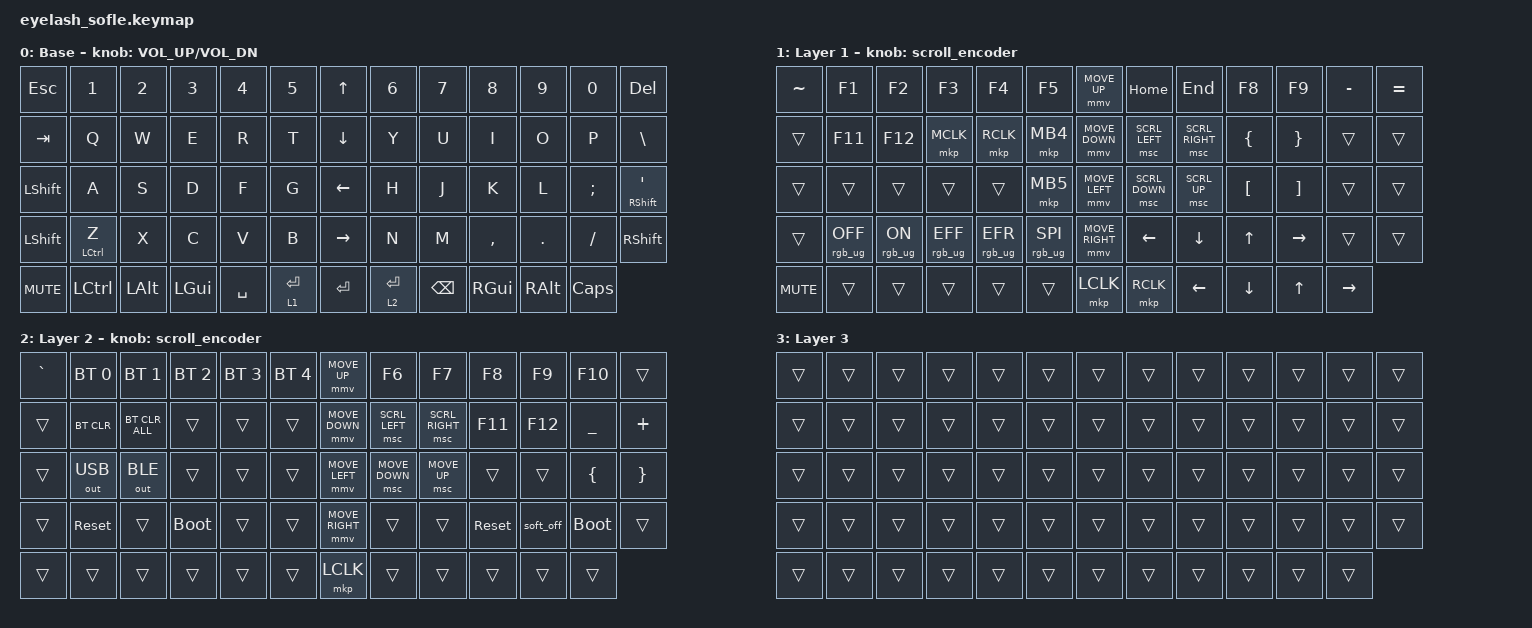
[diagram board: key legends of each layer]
#define ZMK_POINTING_DEFAULT_MOVE_VAL 1200  // 600
#define ZMK_POINTING_DEFAULT_SCRL_VAL 25   // 10

#include <input/processors.dtsi>
#include <zephyr/dt-bindings/input/input-event-codes.h>
#include <behaviors.dtsi>
#include <dt-bindings/zmk/bt.h>
#include <dt-bindings/zmk/ext_power.h>
#include <dt-bindings/zmk/keys.h>
#include <dt-bindings/zmk/pointing.h>
#include <dt-bindings/zmk/rgb.h>
#include <dt-bindings/zmk/outputs.h>
#include <dt-bindings/zmk/mouse.h>

&mmv_input_listener { input-processors = <&zip_xy_scaler 2 1>; };

&msc_input_listener { input-processors = <&zip_scroll_scaler 2 1>; };

&msc {
    acceleration-exponent = <1>;      // 0
    time-to-max-speed-ms = <100>;       // 300
    delay-ms = <0>;                   // 0
};

&mmv {
    time-to-max-speed-ms = <500>;
    acceleration-exponent = <1>;
    trigger-period-ms = <16>;
};


/ {

    scroll_encoder: scroll_encoder {
        compatible = "zmk,behavior-sensor-rotate";
        #sensor-binding-cells = <0>;
        bindings = <&msc SCRL_DOWN>, <&msc SCRL_UP>;
        tap-ms = <100>;
    };

    keymap {
        compatible = "zmk,keymap";

        /* Layer 0 (Base)
         *
         *  ESC     1       2       3       4       5         UP      6       7       8       9       0       DEL    
         *  TAB     Q       W       E       R       T         DN      Y       U       I       O       P       BSLH   
         *  LSHFT   A       S       D       F       G         LT      H       J       K       L       ;       RSFT/' 
         *  LSHFT   Z       X       C       V       B         RT      N       M       ,       .       /       RSFT   
         *  MUTE    LCTL    LALT    LGUI    SPC     LT0/ENT   ENT     LT1/ENT BSPC    RGUI    RALT    CAPS           
         */
        layer_0 {
            bindings = <
&kp ESC    &kp N1      &kp N2       &kp N3       &kp N4    &kp N5       &kp UP_ARROW     &kp N6       &kp N7        &kp N8        &kp N9        &kp N0   &kp DELETE
&kp TAB    &kp Q       &kp W        &kp E        &kp R     &kp T        &kp DOWN_ARROW   &kp Y        &kp U         &kp I         &kp O         &kp P    &kp BSLH
&kp LSHFT  &kp A       &kp S        &kp D        &kp F     &kp G        &kp LEFT_ARROW   &kp H        &kp J         &kp K         &kp L         &kp SEMI &mt RSHIFT APOS
&kp LSHFT  &mt LCTRL Z &kp X        &kp C        &kp V     &kp B        &kp RIGHT_ARROW  &kp N        &kp M         &kp COMMA     &kp DOT       &kp FSLH &kp RIGHT_SHIFT
&kp C_MUTE &kp LCTRL   &kp LEFT_ALT &kp LEFT_GUI &kp SPACE &lt 1 ENTER  &kp ENTER        &lt 2 ENTER  &kp BACKSPACE &kp RIGHT_GUI &kp RIGHT_ALT &kp CAPS
            >;

            sensor-bindings = <&inc_dec_kp C_VOLUME_UP C_VOL_DN>;
            display-name = "Base";
        };

        /* Layer 1 (Fn)
         *
         *  ~       F1      F2      F3      F4      F5        MMV_UP  HOME    END     F8      F9      -       =      
         *  trans   F11     F12     MCLK    RCLK    MB4       MMV_DN  MSC_LT  MSC_RT  {       }       trans   trans  
         *  trans   trans   trans   trans   trans   MB5       MMV_LT  MSC_DN  MSC_UP  [       ]       trans   trans  
         *  trans   RGB_OFF RGB_ON  RGB_EFF RGB_EFR RGB_SPI   MMV_RT  RGB_BRI RGB_BRD trans   trans   trans   trans  
         *  MUTE    trans   trans   trans   trans   trans     LCLK    RCLK    LT_ARW  DN_ARW  UP_ARW  RT_ARW         
         */
        layer_1 {
            bindings = <
&kp TILDE   &kp F1          &kp F2         &kp F3          &kp F4           &kp F5           &mmv MOVE_UP     &kp HOME        &kp END         &kp F8             &kp F9            &kp MINUS       &kp EQUAL
&trans      &kp F11         &kp F12        &mkp MCLK       &mkp RCLK        &mkp MB4         &mmv MOVE_DOWN   &msc SCRL_LEFT  &msc SCRL_RIGHT &kp LBRC           &kp RBRC          &trans          &trans
&trans      &trans          &trans         &trans          &trans           &mkp MB5         &mmv MOVE_LEFT   &msc SCRL_DOWN  &msc SCRL_UP    &kp LEFT_BRACKET   &kp RIGHT_BRACKET &trans          &trans
&trans      &rgb_ug RGB_OFF &rgb_ug RGB_ON &rgb_ug RGB_EFF &rgb_ug RGB_EFR  &rgb_ug RGB_SPI  &mmv MOVE_RIGHT  &kp LEFT_ARROW  &kp DOWN_ARROW   &kp UP_ARROW      &kp RIGHT_ARROW   &trans          &trans
&kp C_MUTE  &trans          &trans         &trans          &trans           &trans           &mkp LCLK        &mkp RCLK       &kp LEFT_ARROW  &kp DOWN_ARROW     &kp UP_ARROW      &kp RIGHT_ARROW     
            >;

            display-name = "Layer 1";
            sensor-bindings = <&scroll_encoder>;
        };

        /* Layer 2 (BT/Media)
         *
         *  `       BT0     BT1     BT2     BT3     BT4       MMV_UP  F6      F7      F8      F9      F10     trans  
         *  trans   CLR     CLRALL  trans   trans   trans     MMV_DN  trans   trans   F11     F12     _       +      
         *  trans   OUT_USB OUT_BLE trans   trans   trans     MMV_LT  trans   trans   trans   trans   {       }      
         *  trans   RST     trans   BOOT    trans   trans     MMV_RT  trans   trans   RST     OFF     BOOT    trans  
         *  trans   trans   trans   trans   trans   trans     LCLK    trans   trans   trans   trans   trans          
         */
        layer_2 {
            bindings = <
&kp GRAVE  &bt BT_SEL 0  &bt BT_SEL 1    &bt BT_SEL 2  &bt BT_SEL 3  &bt BT_SEL 4    &mmv MOVE_UP     &kp F6         &kp F7          &kp F8      &kp F9     &kp F10      &trans
&trans     &bt BT_CLR    &bt BT_CLR_ALL  &trans        &trans        &trans          &mmv MOVE_DOWN   &msc SCRL_LEFT &msc SCRL_RIGHT &kp F11     &kp F12    &kp UNDER    &kp PLUS
&trans     &out OUT_USB  &out OUT_BLE    &trans        &trans        &trans          &mmv MOVE_LEFT   &msc MOVE_DOWN &msc MOVE_UP    &trans      &trans     &kp LBRC     &kp RBRC
&trans     &sys_reset    &trans          &bootloader   &trans        &trans          &mmv MOVE_RIGHT  &trans         &trans          &sys_reset  &soft_off  &bootloader  &trans
&trans     &trans        &trans          &trans        &trans        &trans          &mkp LCLK        &trans         &trans          &trans      &trans     &trans
            >;

            display-name = "Layer 2";
            sensor-bindings = <&scroll_encoder>;
        };

        /* Layer 3 (Unused)
         *
         *  trans   trans   trans   trans   trans   trans     trans   trans   trans   trans   trans   trans   trans  
         *  trans   trans   trans   trans   trans   trans     trans   trans   trans   trans   trans   trans   trans  
         *  trans   trans   trans   trans   trans   trans     trans   trans   trans   trans   trans   trans   trans  
         *  trans   trans   trans   trans   trans   trans     trans   trans   trans   trans   trans   trans   trans  
         *  trans   trans   trans   trans   trans   trans     trans   trans   trans   trans   trans   trans          
         */
        layer_3 {
            bindings = <
&trans  &trans  &trans  &trans  &trans  &trans    &trans  &trans  &trans  &trans  &trans  &trans  &trans
&trans  &trans  &trans  &trans  &trans  &trans    &trans  &trans  &trans  &trans  &trans  &trans  &trans
&trans  &trans  &trans  &trans  &trans  &trans    &trans  &trans  &trans  &trans  &trans  &trans  &trans
&trans  &trans  &trans  &trans  &trans  &trans    &trans  &trans  &trans  &trans  &trans  &trans  &trans
&trans  &trans  &trans  &trans  &trans  &trans    &trans  &trans  &trans  &trans  &trans  &trans
            >;

            display-name = "Layer 3";
        };
    };
};
